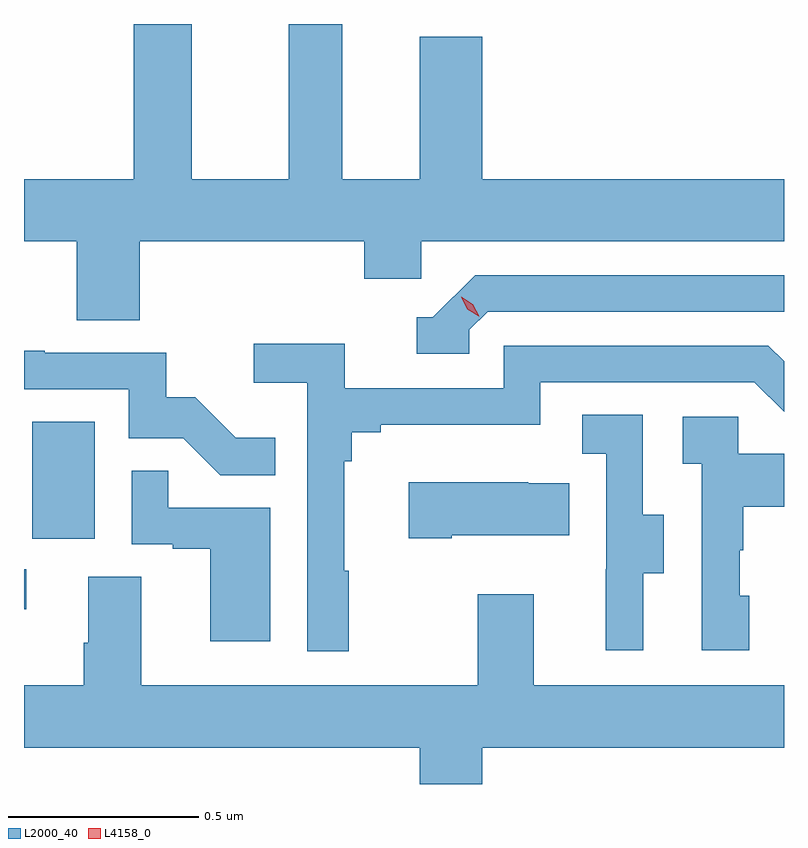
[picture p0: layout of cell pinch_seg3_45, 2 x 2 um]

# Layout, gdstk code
import gdstk
lib = gdstk.Library(unit=1e-6, precision=1e-09)
def R(c, l, rs):  # rectangles x0, y0, x1, y1
    for r in rs: c.add(gdstk.rectangle(r[:2], r[2:], *l))
def P(c, l, *ps):  # polygons
    for p in ps: c.add(gdstk.Polygon(p, *l))
L2000_40 = (2000, 40)
L4158_0 = (4158, 0)

pinch_seg3_45 = lib.new_cell('pinch_seg3_45')
R(pinch_seg3_45, L2000_40, [(1075.054,737.244,1075.06,737.349), (1075.076,737.43,1075.24,737.737)])
P(pinch_seg3_45, L2000_40, [(1075.358,738.212),(1075.949,738.212),(1075.949,738.114),(1076.1,738.114),(1076.1,738.212),(1077.054,738.212),(1077.054,738.376),(1076.26,738.376),(1076.26,738.751),(1076.096,738.751),(1076.096,738.376),(1075.891,738.376),(1075.891,738.784),(1075.751,738.784),(1075.751,738.376),(1075.495,738.376),(1075.495,738.784),(1075.343,738.784),(1075.343,738.376),(1075.054,738.376),(1075.054,738.212),(1075.193,738.212),(1075.193,738.004),(1075.358,738.004)],
  [(1076.226,737.979),(1076.274,738.027),(1077.054,738.027),(1077.054,738.123),(1076.241,738.123),(1076.13,738.012),(1076.087,738.012),(1076.087,737.916),(1076.226,737.916)],
  [(1075.909,737.345),(1075.897,737.345),(1075.897,737.633),(1075.916,737.633),(1075.916,737.71),(1075.993,737.71),(1075.993,737.729),(1076.412,737.729),(1076.412,737.841),(1076.976,737.841),(1077.054,737.763),(1077.054,737.896),(1077.013,737.937),(1076.316,737.937),(1076.316,737.826),(1075.898,737.826),(1075.898,737.942),(1075.659,737.942),(1075.659,737.84),(1075.8,737.84),(1075.8,737.133),(1075.909,737.133)],
  [(1075.715,737.695),(1075.611,737.695),(1075.504,737.802),(1075.428,737.802),(1075.428,737.919),(1075.109,737.919),(1075.109,737.924),(1075.054,737.924),(1075.054,737.823),(1075.329,737.823),(1075.329,737.694),(1075.473,737.694),(1075.571,737.596),(1075.715,737.596)],
  [(1076.683,737.338),(1076.737,737.338),(1076.737,737.493),(1076.682,737.493),(1076.682,737.756),(1076.523,737.756),(1076.523,737.653),(1076.586,737.653),(1076.586,737.349),(1076.585,737.349),(1076.585,737.136),(1076.683,737.136)],
  [(1076.962,737.28),(1076.937,737.28),(1076.937,737.399),(1076.947,737.399),(1076.947,737.513),(1077.054,737.513),(1077.054,737.653),(1076.934,737.653),(1076.934,737.751),(1076.787,737.751),(1076.787,737.627),(1076.838,737.627),(1076.838,737.136),(1076.962,737.136)],
  [(1075.702,737.511),(1075.433,737.511),(1075.433,737.609),(1075.338,737.609),(1075.338,737.415),(1075.445,737.415),(1075.445,737.403),(1075.544,737.403),(1075.544,737.16),(1075.702,737.16)],
  [(1076.179,737.438),(1076.489,737.438),(1076.489,737.575),(1076.381,737.575),(1076.381,737.578),(1076.067,737.578),(1076.067,737.431),(1076.179,737.431)],
  [(1076.26,736.88),(1077.054,736.88),(1077.054,737.044),(1076.395,737.044),(1076.395,737.284),(1076.248,737.284),(1076.248,737.044),(1075.363,737.044),(1075.363,737.33),(1075.223,737.33),(1075.223,737.156),(1075.211,737.156),(1075.211,737.044),(1075.054,737.044),(1075.054,736.88),(1076.096,736.88),(1076.096,736.784),(1076.26,736.784)])
P(pinch_seg3_45, L4158_0, [(1076.251,738.015),(1076.221,738.034),(1076.204,738.066),(1076.204,738.066),(1076.204,738.066),(1076.235,738.047),(1076.252,738.015),(1076.252,738.015)])

lib.write_gds('pinch_seg3_45.gds')
